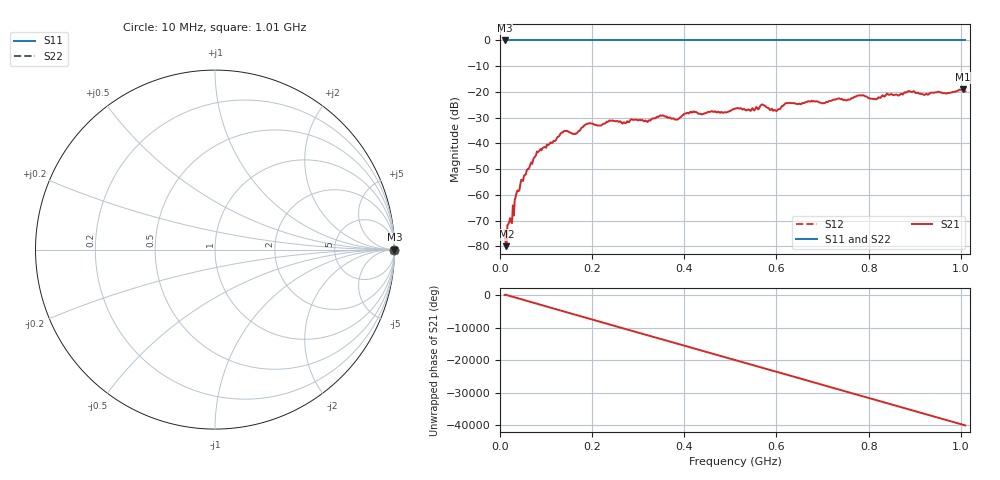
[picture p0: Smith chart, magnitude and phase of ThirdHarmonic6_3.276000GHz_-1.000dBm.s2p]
! 8/17/2025 10:09:02 AM
! C:\ANRITSUVNA\TEMP\TEMP.S2P
! CHANNEL.1
! TR.MEASUREMENT
! RAW.DATA
! RF.CORRECTION.OFF
! AVERAGING.OFF
! IF.BANDWIDTH: 5KHZ
! SWEEPTYPE:  FREQ.SWEEP(Linear)
! Reference Plane Port Info
! PORT:  PORT1  PORT2
! DISTANCE:  0  m  0  m
! TIME:  0  s  0  s
! PHASE.OFFSET:  0  deg.  0  deg.
! LOSS:  0  dB  0  dB
! REF.LOSS:  0  dB  0  dB
! REF.FREQ:  0  Hz  0  Hz
! Power Info
! POWER:  -20  dBm  -20  dBm
! EFF.POWER:  -20  dBm  -20  dBm
! SOURCE.ATTEN:  0  dB  0  dB
! TEST.ATTEN:  0  dB  0  dB
# GHZ S RI R 50.0
! FREQ.GHZ  S11RE  S11IM  S21RE  S21IM  S12RE  S12IM  S22RE  S22IM
!; PortSelection: Port_12
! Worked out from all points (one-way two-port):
!   501 points, 10 MHz to 1.01 GHz, reference 50 ohm
!   highest |S21| = -18.98 dB at 1.004 GHz (marker M1); lowest = -79.9 dB at 14 MHz (marker M2)
!   lowest |S11| = 0.0 dB at 10 MHz (marker M3)
!   |S11| at or under -10 dB: nowhere
!   |S22| runs from 0.0 to 0.0 dB; largest |S21 - S12| = 1.1
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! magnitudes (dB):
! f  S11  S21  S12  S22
! 10 MHz  0.0  -73.7  0.0  0.0
! 14 MHz  0.0  -79.9  0.0  0.0
! 26 MHz  0.0  -71.0  0.0  0.0
! 36 MHz  0.0  -59.2  0.0  0.0
! 78 MHz  0.0  -44.7  0.0  0.0
! 136 MHz  0.0  -35.8  0.0  0.0
! 162 MHz  0.0  -36.2  0.0  0.0
! 178 MHz  0.0  -33.8  0.0  0.0
! 344 MHz  0.0  -29.7  0.0  0.0
! 384 MHz  0.0  -30.7  0.0  0.0
! 416 MHz  0.0  -28.0  0.0  0.0
! 510 MHz  0.0  -26.5  0.0  0.0
! 548 MHz  0.0  -26.3  0.0  0.0
! 570 MHz  0.0  -24.9  0.0  0.0
! 598 MHz  0.0  -27.2  0.0  0.0
! 622 MHz  0.0  -24.3  0.0  0.0
! 678 MHz  0.0  -23.7  0.0  0.0
! 784 MHz  0.0  -21.4  0.0  0.0
! 814 MHz  0.0  -22.8  0.0  0.0
! 844 MHz  0.0  -21.2  0.0  0.0
! 1.004 GHz  0.0  -19.0  0.0  0.0
! 1.01 GHz  0.0  -19.8  0.0  0.0
